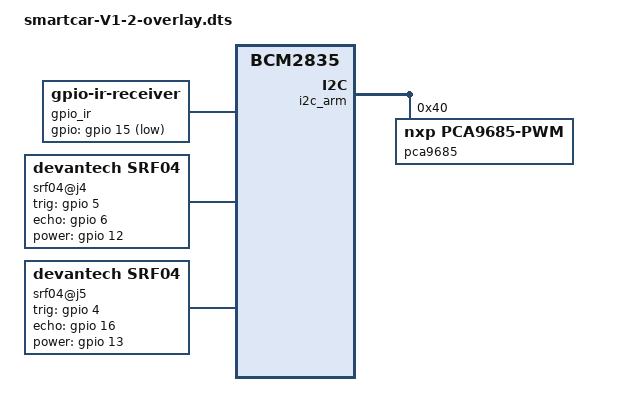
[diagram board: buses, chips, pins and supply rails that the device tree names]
// Definitions for Smart Car V1.2 Module
/dts-v1/;
/plugin/;

/ {
	compatible = "brcm,bcm2835";

	fragment@0 {
		target = <&gpio>;
		__overlay__ {
			status = "okay"; /* device is enabled */
			gpio_driver_pins: gpio_driver_pins {
				brcm,pins = <23 27>;
				brcm,function = <1 1>; /* 0:in, 1:out */
				brcm,pull = <0 0>; // 2:up 1:down 0:none
			};
			motor0_phase_a: motor0_phase_a {
				pwms = <&pca9685 0 20000000>;
				pwm-names = "motor0_phase_A";
			};
			motor0_phase_b: motor0_phase_b {
				pwms = <&pca9685 1 20000000>;
				pwm-names = "motor0_phase_b";
			};
			motor1_phase_a: motor1_phase_a {
				pwms = <&pca9685 2 20000000>;
				pwm-names = "motor1_phase_A";
			};
			motor1_phase_b: motor1_phase_b {
				pwms = <&pca9685 3 20000000>;
				pwm-names = "motor1_phase_b";
			};
			motor2_phase_a: motor2_phase_a {
				pwms = <&pca9685 4 20000000>;
				pwm-names = "motor2_phase_A";
			};
			motor2_phase_b: motor2_phase_b {
				pwms = <&pca9685 5 20000000>;
				pwm-names = "motor2_phase_b";
			};
			motor3_phase_a: motor3_phase_a {
				pwms = <&pca9685 6 20000000>;
				pwm-names = "motor3_phase_A";
			};
			motor3_phase_b: motor3_phase_b {
				pwms = <&pca9685 7 20000000>;
				pwm-names = "motor3_phase_b";
			};
		};
	};

	fragment@1 {
		target = <&i2c_arm>;
		__overlay__ {
			#address-cells = <1>;
			#size-cells = <0>;
			status = "okay";

			pca9685: pca9685@40 {
				// https://github.com/raspberrypi/linux File: pwm-pca9685.c
				compatible = "nxp,pca9685-pwm"; //PCA9685PW
				#pwm-cells = <2>;
				reg = <0x40>;
				pinctrl-0 = <&gpio_driver_pins>;
				status = "okay";
			};
		};
	};
	
	fragment@2 {
		target-path = "/";
		__overlay__ {
			gpio_ir: ir-receiver {
				// https://github.com/raspberrypi/linux File: gpio-ir-recv.c
				compatible = "gpio-ir-receiver";
				gpios = <&gpio 15 1>;
				// linux,rc-map-name = "rc-rc6-mce";
				status = "okay";
			};
		};
	};

	fragment@3 {
		target-path = "/";
		__overlay__ {
			srf04@j4 {
				// https://github.com/raspberrypi/linux File: srf04.c
				compatible = "devantech,srf04";
				trig-gpios = <&gpio 5 0>;
				echo-gpios = <&gpio 6 0>;
				power-gpios = <&gpio 12 0>;
				startup-time-ms = <150>;
				status = "okay";
			};
		};
	};

	fragment@4 {
		target-path = "/";
		__overlay__ {
			srf04@j5 {
				// https://github.com/raspberrypi/linux File: srf04.c
				compatible = "devantech,srf04";
				trig-gpios = <&gpio 4 0>;
				echo-gpios = <&gpio 16 0>;
				power-gpios = <&gpio 13 0>;
				startup-time-ms = <150>;
				status = "okay";
			};
		};
	};
};
